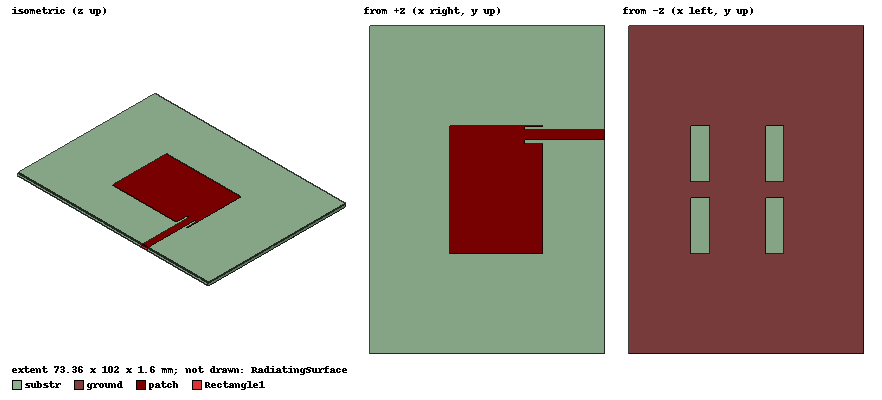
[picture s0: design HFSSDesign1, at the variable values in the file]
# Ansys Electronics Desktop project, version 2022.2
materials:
  vacuum: permittivity=1
  FR4_epoxy: permittivity=4.4 dielectric_loss_tangent=0.02
  copper: permeability=0.999991 conductivity=58000000

design HFSSDesign1 (HFSS, DrivenModal, model units mm)
options: Calculate_Lossy_Dielectrics
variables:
  lsub = 78.8mm
  wsub = 102mm
  hsub = 1.6mm
  lp = 29mm  # tune 14.5mm..43.5mm
  wp = 40mm  # tune 19mm..57mm
  wf = 3.1mm
  slot_h = 5.541mm  # optimise 2.5mm..7.5mm
  slot_w = 1mm  # optimise 1.5mm..4.5mm
  lf = 25mm
  x_dist = 10
  dist = 3mm
  y_dsg = wp/2.3
  y_ds = y_dsg
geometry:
  substr [FR4_epoxy] = box(corner=(-lsub/2, -wsub/2, 0mm), size=(lsub/2+lp/2+lf-slot_h, wsub, hsub))
  ground = rectangle(corner=(-lsub/2, -wsub/2, 0mm), x_size=lsub/2+lp/2+lf-slot_h, y_size=wsub)
  patch = rectangle(corner=(-lp/2, -wp/2, 1.6mm), x_size=lp, y_size=wp)
  inset1 = rectangle(corner=(lp/2, wp/2-wf/2-dist, hsub), x_size=-slot_h, y_size=-slot_w)
  inset2 = rectangle(corner=(lp/2, wp/2-dist+wf/2, hsub), x_size=-slot_h, y_size=slot_w)
  feed = rectangle(corner=(lp/2-slot_h, wp/2-wf/2-dist, hsub), x_size=lf, y_size=wf)
  patch.subtract(inset1, inset2)
  patch.unite(feed)
  Rectangle1 = rectangle(corner=(lp/2-slot_h+lf, wp/2-wf/2-dist, hsub), y_size=wf, z_size=-hsub)
  RadiatingSurface [vacuum] = region(absolute_offset=55.555556mm on all sides)
  Rectangle2 = rectangle(corner=(-lp/2, -wp/2, 0mm), x_size=lp/5, y_size=y_dsg)
  Rectangle3 = rectangle(corner=(lp/2, -wp/2, 0mm), x_size=-lp/5, y_size=y_dsg)
  Rectangle4 = rectangle(corner=(-lp/2, wp/2, 0mm), x_size=lp/5, y_size=-y_dsg)
  ground.subtract(Rectangle2, Rectangle3, Rectangle4)
  Rectangle5 = rectangle(corner=(lp/2, wp/2, 0mm), x_size=-lp/5, y_size=-y_dsg)
  ground.subtract(Rectangle5)
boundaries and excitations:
  FiniteCond1: Finite Conductivity Objects=patch UseMaterial Material=copper IsInternal
  FiniteCond2: Finite Conductivity Objects=ground UseMaterial Material=copper IsInternal
  Open1: Radiation Objects=RadiatingSurface
  1: Lumped Port Objects=Rectangle1 Modes{Mode1{IntLine{(33.959, 17, 1.6) -> (33.959, 17, 0)} CharImp=Zpi}} Impedance=50ohm
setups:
  Setup1: HfssDriven MultipleAdaptiveFreqsSetup{AdaptAt{Frequency=1.8GHz Delta=0.02} AdaptAt{Frequency=2.4GHz Delta=0.02}} MaximumPasses=6 MinimumPasses=1 MinimumConvergedPasses=1 PercentRefinement=30 BasisOrder=1 PortAccuracy=2 DrivenSolverType="Direct Solver"
    sweep Sweep: 1GHz to 4GHz step 0.1GHz; Type=Discrete SaveFields
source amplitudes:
  1:1: 1W 0deg
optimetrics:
  ParametricSetup1: Parametric Sim._Setups=[Setup1]
    sweep wp: LIN 30mm 57mm 1mm
  ParametricSetup2: Parametric Sim._Setups=[Setup1]
    sweep slot_h: LIN 4mm 6mm 0.1mm
    sweep slot_w: LIN 0.1mm 2mm 0.1mm
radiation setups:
  3D: Infinite Sphere Theta=0deg..180deg step 2deg Phi=-180deg..180deg step 2deg
  Elevation: Infinite Sphere Theta=-180deg..180deg step 1deg Phi=0deg..90deg step 90deg
  Azimuth: Infinite Sphere Theta=90deg..90deg step 0deg Phi=-180deg..180deg step 1deg
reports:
  S Parameter Plot 1: dB(S(1,1)) vs Freq on Setup1 : Sweep; markers m1 at 1.9GHz, m2 at 2.4GHz
  Gain Plot 1: dB(GainTotal) vs Freq on Setup1 : Sweep, 3D [Phi=0deg Theta=0deg]; markers MX1 at x=2.3844608e+09
  S Parameter Plot 2: dB(S(1,1)) vs Freq on Setup1 : Sweep [wp=all]
  Gain Plot 2: dB(GainTotal) vs Freq on Setup1 : Sweep, 3D [Phi=0deg Theta=0deg wp=40mm]
  S Parameter Plot 3: dB(S(1,1)) vs Freq on Setup1 : Sweep [wp=all]; markers m1 at 2.4GHz, m2 at 1.8GHz
  Gain Plot 3: dB(GainTotal) vs Freq on Setup1 : Sweep, 3D [Phi=0deg Theta=0deg wp=40mm]; markers MX1 at x=2.3965171e+09
  Gain Plot 4: dB(GainTotal) vs Phi, Theta on Setup1 : Sweep, 3D [Freq=1.8GHz wp=40mm]
  Gain Plot 5: dB(GainTotal) vs Phi, Theta on Setup1 : Sweep, 3D [Freq=2.4GHz wp=40mm]
  VSWR Plot 1: dB(VSWR(1)) vs Freq on Setup1 : Sweep [wp=all]
  Z Parameter Plot 1: re(Z(1,1)), im(Z(1,1)) vs Freq on Setup1 : Sweep [wp=40mm]; markers MX1 at x=2.9046653e+09
  S Parameter Plot 4: dB(S(1,1)) vs Freq on Setup1 : Sweep [wp=40mm slot_h=all slot_w=all]; markers MX1 at x=1e+09, MX2 at x=1e+09
  S Parameter Plot 5: dB(S(1,1)) vs Freq on Setup1 : Sweep [wp=all slot_h=all slot_w=all]
  Gain Plot 6: dB(GainTotal) vs Phi, Theta on Setup1 : Sweep, 3D [Freq=1.8GHz wp=40mm slot_h=5.541mm slot_w=1.6mm]
  Gain Plot 7: dB(GainTotal) vs Phi, Theta on Setup1 : Sweep, 3D [Freq=2.4GHz wp=40mm slot_h=5.541mm slot_w=1.6mm]
  S Parameter Plot 6: dB(S(1,1)) vs Freq on Setup1 : Sweep [wp=all slot_h=all slot_w=all]
  Gain Plot 8: dB(GainTotal) vs Freq on Setup1 : Sweep, 3D [Phi=0deg Theta=0deg wp=40mm slot_h=5.541mm slot_w=1mm]; markers MX1 at x=2.4003497e+09
  S Parameter Plot 7: dB(S(1,1)) vs Freq on Setup1 : Sweep [wp=all slot_h=all slot_w=all]
  S Parameter Plot 8: dB(S(1,1)) vs Freq on Setup1 : Sweep [wp=all slot_h=all slot_w=all]
  Gain Plot 9: dB(GainTotal) vs Freq on Setup1 : Sweep, 3D [Phi=0deg Theta=0deg wp=40mm slot_h=5.541mm slot_w=1mm]
  Gain Plot 10: dB(GainTotal) vs Freq on Setup1 : Sweep, 3D [Phi=0deg Theta=0deg wp=40mm slot_h=5.541mm slot_w=1.6mm]; markers MX1 at x=1.7998252e+09
  Gain Plot 11: dB(GainTotal) vs Freq on Setup1 : Sweep, 3D [Phi=0deg Theta=0deg wp=40mm slot_h=5.541mm slot_w=all]; markers MX1 at x=2.4010957e+09
  S Parameter Plot 9: dB(S(1,1)) vs Freq on Setup1 : Sweep [wp=all slot_h=all slot_w=all]; markers MX1 at x=2.3008502e+09
  S Parameter Plot 10: dB(S(1,1)) vs Freq on Setup1 : Sweep [wp=all slot_h=all slot_w=all]
  S Parameter Plot 11: dB(S(1,1)) vs Freq on Setup1 : Sweep [wp=all slot_h=all slot_w=all]
  S Parameter Plot 12: dB(S(1,1)) vs Freq on Setup1 : Sweep [wp=all slot_h=all slot_w=all]; markers MX1 at x=2.3907816e+09
  S Parameter Plot 13: dB(S(1,1)) vs Freq on Setup1 : Sweep [wp=all slot_h=all slot_w=all]; markers MX1 at x=2.3066132e+09
  Gain Plot 12: dB(GainTotal) vs Freq on Setup1 : Sweep, 3D [Phi=0deg Theta=0deg wp=40mm slot_h=all slot_w=all]; markers MX1 at x=2.206671e+09
  S Parameter Plot 14: dB(S(1,1)) vs Freq on Setup1 : Sweep [wp=all slot_h=all slot_w=all]; markers MX1 at x=1.9038076e+09
  Gain Plot 13: dB(GainTotal) vs Freq on Setup1 : Sweep, 3D [Phi=0deg Theta=0deg wp=40mm slot_h=all slot_w=all]; markers MX1 at x=1.8196393e+09
  S Parameter Plot 15: dB(S(1,1)) vs Freq on Setup1 : Sweep [wp=all slot_h=all slot_w=all]; markers m1 at 1.8GHz, m2 at 2.4GHz
  Gain Plot 14: dB(GainTotal) vs Freq on Setup1 : Sweep, 3D [Phi=0deg Theta=0deg wp=40mm slot_h=all slot_w=all]; markers MX1 at x=2.2957276e+09
  S Parameter Plot 16: dB(S(1,1)) vs Freq on Setup1 : Sweep [wp=all slot_h=all slot_w=all]
  S Parameter Plot 17: dB(S(1,1)) vs Freq on Setup1 : Sweep [wp=all slot_h=all slot_w=all]
  S Parameter Plot 18: dB(S(1,1)) vs Freq on Setup1 : Sweep [wp=all slot_h=all slot_w=all]
  Z Parameter Plot 2: re(Z(1,1)), im(Z(1,1)) vs Freq on Setup1 : Sweep [wp=all slot_h=all slot_w=all]; markers MX1 at x=2.4038718e+09
  S Parameter Plot 19: dB(S(1,1)) vs Freq on Setup1 : Sweep [wp=all slot_h=all slot_w=all]
  S Parameter Plot 20: dB(S(1,1)) vs Freq on Setup1 : Sweep [wp=all slot_h=all slot_w=all]; markers MX1 at x=1.7294118e+09
  Z Parameter Plot 3: re(Z(1,1)) vs Freq on Setup1 : Sweep [wp=all slot_h=all slot_w=all]
  Gain Plot 15: dB(GainTotal) vs Freq on Setup1 : Sweep, 3D [Phi=0deg Theta=0deg wp=40mm slot_h=all slot_w=all]; markers MX1 at x=1.5901961e+09
  S Parameter Plot 21: dB(S(1,1)) vs Freq on Setup1 : Sweep [wp=all slot_h=all slot_w=all]
  Gain Plot 16: dB(GainTotal) vs Freq on Setup1 : Sweep, 3D [Phi=0deg Theta=0deg wp=all slot_h=all slot_w=all]; markers m1 at 2.4GHz, m2 at 1.8GHz, m3 at 1.9GHz
  S Parameter Plot 22: dB(S(1,1)) vs Freq on Setup1 : Sweep [wp=all slot_h=all slot_w=all]; markers m1 at 1.8GHz, m2 at 2.4GHz
  Z Parameter Plot 4: re(Z(1,1)), im(Z(1,1)) vs Freq on Setup1 : Sweep [wp=all slot_h=all slot_w=all]; markers MX1 at x=2.4005305e+09
  VSWR Plot 2: dB(VSWR(1)) vs Freq on Setup1 : Sweep [wp=all slot_h=all slot_w=all]; markers m1 at 1.8GHz, m2 at 2.4GHz
  VSWR Plot 3: abs(VSWR(1)) vs Freq on Setup1 : Sweep [wp=all slot_h=all slot_w=all]; markers m1 at 1.8GHz, m2 at 2.4GHz
